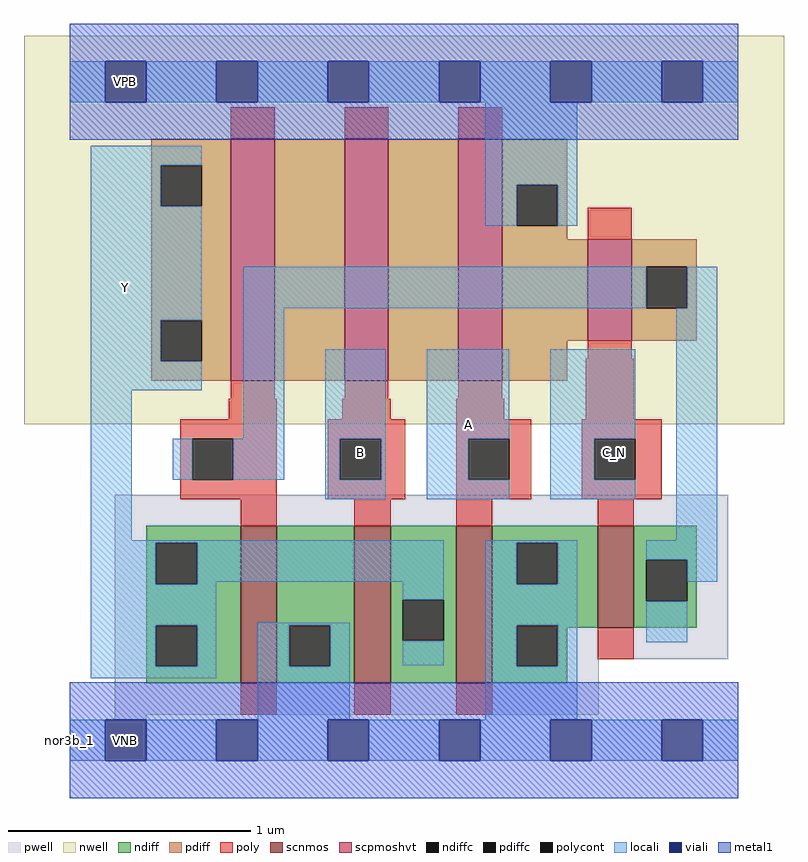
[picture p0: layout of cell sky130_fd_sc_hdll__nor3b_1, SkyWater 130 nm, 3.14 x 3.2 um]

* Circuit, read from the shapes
.subckt sky130_fd_sc_hdll__nor3b_1 A B C_N VGND VNB VPB VPWR Y
XM1 VGND n1 Y VNB sky130_fd_pr__nfet_01v8 w=0.65 l=0.15
XM2 Y B VGND VNB sky130_fd_pr__nfet_01v8 w=0.65 l=0.15
XM3 VGND A Y VNB sky130_fd_pr__nfet_01v8 w=0.65 l=0.15
XM4 n1 C_N VGND VNB sky130_fd_pr__nfet_01v8 w=0.42 l=0.15
XM5 n2 n1 Y VPB sky130_fd_pr__pfet_01v8_hvt w=1 l=0.18
XM6 n3 B n2 VPB sky130_fd_pr__pfet_01v8_hvt w=1 l=0.18
XM7 VPWR A n3 VPB sky130_fd_pr__pfet_01v8_hvt w=1 l=0.18
XM8 n1 C_N VPWR VPB sky130_fd_pr__pfet_01v8_hvt w=0.42 l=0.18
.ends

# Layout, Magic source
magic
tech sky130A
magscale 1 2
<< nwell >>
rect -38 261 590 582
<< pwell >>
rect 37 67 544 203
rect 37 21 437 67
rect 37 17 63 21
rect 29 -17 63 17
<< scnmos >>
rect 141 47 171 177
rect 235 47 265 177
rect 319 47 349 177
rect 436 93 466 177
<< scpmoshvt >>
rect 133 297 169 497
rect 227 297 263 497
rect 321 297 357 497
rect 428 330 464 414
<< ndiff >>
rect 63 163 141 177
rect 63 129 71 163
rect 105 129 141 163
rect 63 95 141 129
rect 63 61 71 95
rect 105 61 141 95
rect 63 47 141 61
rect 171 95 235 177
rect 171 61 181 95
rect 215 61 235 95
rect 171 47 235 61
rect 265 116 319 177
rect 265 82 275 116
rect 309 82 319 116
rect 265 47 319 82
rect 349 163 436 177
rect 349 129 369 163
rect 403 129 436 163
rect 349 95 436 129
rect 349 61 369 95
rect 403 93 436 95
rect 466 149 518 177
rect 466 115 476 149
rect 510 115 518 149
rect 466 93 518 115
rect 403 61 411 93
rect 349 47 411 61
<< pdiff >>
rect 67 475 133 497
rect 67 441 75 475
rect 109 441 133 475
rect 67 347 133 441
rect 67 313 75 347
rect 109 313 133 347
rect 67 297 133 313
rect 169 297 227 497
rect 263 297 321 497
rect 357 459 411 497
rect 357 425 369 459
rect 403 425 411 459
rect 357 414 411 425
rect 357 330 428 414
rect 464 391 518 414
rect 464 357 476 391
rect 510 357 518 391
rect 464 330 518 357
rect 357 297 411 330
<< ndiffc >>
rect 71 129 105 163
rect 71 61 105 95
rect 181 61 215 95
rect 275 82 309 116
rect 369 129 403 163
rect 369 61 403 95
rect 476 115 510 149
<< pdiffc >>
rect 75 441 109 475
rect 75 313 109 347
rect 369 425 403 459
rect 476 357 510 391
<< poly >>
rect 133 497 169 523
rect 227 497 263 523
rect 321 497 357 523
rect 428 414 464 440
rect 428 315 464 330
rect 133 282 169 297
rect 227 282 263 297
rect 321 282 357 297
rect 131 265 171 282
rect 225 265 265 282
rect 319 265 359 282
rect 426 265 466 315
rect 91 249 171 265
rect 91 215 101 249
rect 135 215 171 249
rect 91 199 171 215
rect 213 249 277 265
rect 213 215 223 249
rect 257 215 277 249
rect 213 199 277 215
rect 319 249 381 265
rect 319 215 329 249
rect 363 215 381 249
rect 319 199 381 215
rect 423 249 489 265
rect 423 215 433 249
rect 467 215 489 249
rect 423 199 489 215
rect 141 177 171 199
rect 235 177 265 199
rect 319 177 349 199
rect 436 177 466 199
rect 436 67 466 93
rect 141 21 171 47
rect 235 21 265 47
rect 319 21 349 47
<< polycont >>
rect 101 215 135 249
rect 223 215 257 249
rect 329 215 363 249
rect 433 215 467 249
<< locali >>
rect 0 527 29 561
rect 63 527 121 561
rect 155 527 213 561
rect 247 527 305 561
rect 339 527 397 561
rect 431 527 489 561
rect 523 527 552 561
rect 17 475 109 491
rect 17 441 75 475
rect 17 347 109 441
rect 343 459 419 527
rect 343 425 369 459
rect 403 425 419 459
rect 17 313 75 347
rect 17 289 109 313
rect 143 357 476 391
rect 510 357 535 391
rect 17 165 51 289
rect 143 249 177 357
rect 85 215 101 249
rect 135 215 177 249
rect 211 249 261 323
rect 211 215 223 249
rect 257 215 261 249
rect 211 199 261 215
rect 295 249 363 323
rect 295 215 329 249
rect 295 199 363 215
rect 397 249 467 323
rect 397 215 433 249
rect 397 199 467 215
rect 501 165 535 357
rect 17 163 309 165
rect 17 129 71 163
rect 105 131 309 163
rect 105 129 121 131
rect 17 95 121 129
rect 275 116 309 131
rect 17 61 71 95
rect 105 61 121 95
rect 17 51 121 61
rect 155 95 231 97
rect 155 61 181 95
rect 215 61 231 95
rect 275 62 309 82
rect 343 163 419 165
rect 343 129 369 163
rect 403 129 419 163
rect 343 95 419 129
rect 155 17 231 61
rect 343 61 369 95
rect 403 61 419 95
rect 476 149 535 165
rect 510 131 535 149
rect 476 81 510 115
rect 343 17 419 61
rect 0 -17 29 17
rect 63 -17 121 17
rect 155 -17 213 17
rect 247 -17 305 17
rect 339 -17 397 17
rect 431 -17 489 17
rect 523 -17 552 17
<< viali >>
rect 29 527 63 561
rect 121 527 155 561
rect 213 527 247 561
rect 305 527 339 561
rect 397 527 431 561
rect 489 527 523 561
rect 29 -17 63 17
rect 121 -17 155 17
rect 213 -17 247 17
rect 305 -17 339 17
rect 397 -17 431 17
rect 489 -17 523 17
<< metal1 >>
rect 0 561 552 592
rect 0 527 29 561
rect 63 527 121 561
rect 155 527 213 561
rect 247 527 305 561
rect 339 527 397 561
rect 431 527 489 561
rect 523 527 552 561
rect 0 496 552 527
rect 0 17 552 48
rect 0 -17 29 17
rect 63 -17 121 17
rect 155 -17 213 17
rect 247 -17 305 17
rect 339 -17 397 17
rect 431 -17 489 17
rect 523 -17 552 17
rect 0 -48 552 -17
<< labels >>
flabel locali s 433 221 467 255 0 FreeSans 400 0 0 0 C_N
port 3 nsew signal input
flabel locali s 29 357 63 391 0 FreeSans 200 0 0 0 Y
port 8 nsew signal output
flabel locali s 295 199 363 323 0 FreeSans 400 0 0 0 A
port 1 nsew signal input
flabel locali s 223 221 257 255 0 FreeSans 400 0 0 0 B
port 2 nsew signal input
flabel nwell s 29 527 63 561 0 FreeSans 200 0 0 0 VPB
port 6 nsew power bidirectional
flabel pwell s 29 -17 63 17 0 FreeSans 200 0 0 0 VNB
port 5 nsew ground bidirectional
flabel metal1 s 29 -17 63 17 0 FreeSans 200 0 0 0 VGND
port 4 nsew ground bidirectional
flabel metal1 s 29 527 63 561 0 FreeSans 200 0 0 0 VPWR
port 7 nsew power bidirectional
rlabel comment s 0 0 0 0 4 nor3b_1
<< properties >>
string LEFsite unithd
string LEFclass CORE
string FIXED_BBOX 0 0 552 544
string GDS_FILE $PDKPATH/libs.ref/sky130_fd_sc_hdll/gds/sky130_fd_sc_hdll.gds
string LEFsymmetry X Y R90
string GDS_END 89644
string GDS_START 84740
string LEFproperties maskLayoutSubType "abstract" prCellType "standard" originalViewName "layout"
<< end >>
